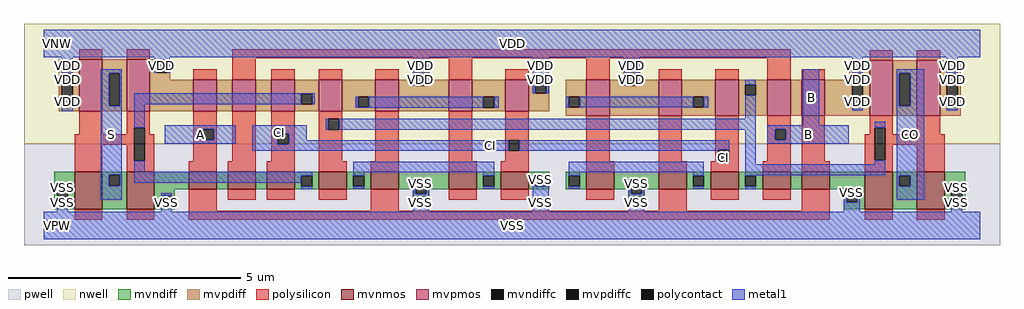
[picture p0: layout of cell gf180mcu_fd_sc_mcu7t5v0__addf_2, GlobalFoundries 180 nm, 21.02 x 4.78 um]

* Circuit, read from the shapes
.subckt gf180mcu_fd_sc_mcu7t5v0__addf_2 A B CI CO S VDD VNW VPW VSS
XM1 S n1 VSS VPW nfet_06v0 w=0.815u l=0.6u m=2
XM2 n2 A VSS VPW nfet_06v0 w=0.38u l=0.6u
XM3 n3 B n2 VPW nfet_06v0 w=0.38u l=0.6u
XM4 n1 CI n3 VPW nfet_06v0 w=0.38u l=0.6u
XM5 n4 n5 n1 VPW nfet_06v0 w=0.38u l=0.6u
XM6 VSS A n4 VPW nfet_06v0 w=0.38u l=0.6u
XM7 n4 B VSS VPW nfet_06v0 w=0.38u l=0.6u
XM8 VSS CI n4 VPW nfet_06v0 w=0.38u l=0.6u
XM9 VSS B n6 VPW nfet_06v0 w=0.38u l=0.6u
XM10 n6 A VSS VPW nfet_06v0 w=0.38u l=0.6u
XM11 n5 CI n6 VPW nfet_06v0 w=0.38u l=0.6u
XM12 n7 B n5 VPW nfet_06v0 w=0.38u l=0.6u
XM13 VSS A n7 VPW nfet_06v0 w=0.38u l=0.6u
XM14 CO n5 VSS VPW nfet_06v0 w=0.815u l=0.6u m=2
XM15 S n1 VDD VNW pfet_06v0 w=1.12u l=0.5u m=2
XM16 n8 A VDD VNW pfet_06v0 w=0.68u l=0.5u
XM17 n9 B n8 VNW pfet_06v0 w=0.68u l=0.5u
XM18 n1 CI n9 VNW pfet_06v0 w=0.68u l=0.5u
XM19 n10 n5 n1 VNW pfet_06v0 w=0.68u l=0.5u
XM20 VDD A n10 VNW pfet_06v0 w=0.68u l=0.5u
XM21 n10 B VDD VNW pfet_06v0 w=0.68u l=0.5u
XM22 VDD CI n10 VNW pfet_06v0 w=0.68u l=0.5u
XM23 VDD B n11 VNW pfet_06v0 w=0.78u l=0.5u
XM24 n11 A VDD VNW pfet_06v0 w=0.78u l=0.5u
XM25 n5 CI n11 VNW pfet_06v0 w=0.78u l=0.5u
XM26 n12 B n5 VNW pfet_06v0 w=0.78u l=0.5u
XM27 VDD A n12 VNW pfet_06v0 w=0.78u l=0.5u
XM28 CO n5 VDD VNW pfet_06v0 w=1.195u l=0.5u m=2
.ends

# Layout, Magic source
magic
tech gf180mcuD
magscale 1 10
<< nwell >>
rect -86 352 4118 870
<< pwell >>
rect -86 -86 4118 352
<< mvnmos >>
rect 132 69 252 232
rect 356 69 476 232
rect 624 156 744 232
rect 792 156 912 232
rect 960 156 1080 232
rect 1184 156 1304 232
rect 1408 156 1528 232
rect 1744 156 1864 232
rect 1968 156 2088 232
rect 2336 156 2456 232
rect 2648 156 2768 232
rect 2872 156 2992 232
rect 3096 156 3216 232
rect 3264 156 3384 232
rect 3536 69 3656 232
rect 3760 69 3880 232
<< mvpmos >>
rect 152 492 252 716
rect 356 492 456 716
rect 644 492 744 628
rect 812 492 912 628
rect 980 492 1080 628
rect 1184 492 1284 628
rect 1428 492 1528 628
rect 1744 492 1844 628
rect 1988 492 2088 628
rect 2336 472 2436 628
rect 2648 472 2748 628
rect 2892 472 2992 628
rect 3116 472 3216 628
rect 3264 472 3364 628
rect 3556 472 3656 711
rect 3760 472 3860 711
<< mvndiff >>
rect 44 142 132 232
rect 44 96 57 142
rect 103 96 132 142
rect 44 69 132 96
rect 252 218 356 232
rect 252 172 281 218
rect 327 172 356 218
rect 252 69 356 172
rect 476 156 624 232
rect 744 156 792 232
rect 912 156 960 232
rect 1080 215 1184 232
rect 1080 169 1109 215
rect 1155 169 1184 215
rect 1080 156 1184 169
rect 1304 215 1408 232
rect 1304 169 1333 215
rect 1379 169 1408 215
rect 1304 156 1408 169
rect 1528 183 1744 232
rect 1528 156 1601 183
rect 476 128 564 156
rect 476 82 505 128
rect 551 82 564 128
rect 476 69 564 82
rect 1588 137 1601 156
rect 1647 156 1744 183
rect 1864 215 1968 232
rect 1864 169 1893 215
rect 1939 169 1968 215
rect 1864 156 1968 169
rect 2088 215 2176 232
rect 2088 169 2117 215
rect 2163 169 2176 215
rect 2088 156 2176 169
rect 2248 215 2336 232
rect 2248 169 2261 215
rect 2307 169 2336 215
rect 2248 156 2336 169
rect 2456 183 2648 232
rect 2456 156 2529 183
rect 1647 137 1660 156
rect 1588 124 1660 137
rect 2516 137 2529 156
rect 2575 156 2648 183
rect 2768 215 2872 232
rect 2768 169 2797 215
rect 2843 169 2872 215
rect 2768 156 2872 169
rect 2992 215 3096 232
rect 2992 169 3021 215
rect 3067 169 3096 215
rect 2992 156 3096 169
rect 3216 156 3264 232
rect 3384 156 3536 232
rect 2575 137 2588 156
rect 2516 124 2588 137
rect 3444 146 3536 156
rect 3444 100 3457 146
rect 3503 100 3536 146
rect 3444 69 3536 100
rect 3656 215 3760 232
rect 3656 169 3685 215
rect 3731 169 3760 215
rect 3656 69 3760 169
rect 3880 142 3968 232
rect 3880 96 3909 142
rect 3955 96 3968 142
rect 3880 69 3968 96
<< mvpdiff >>
rect 64 655 152 716
rect 64 515 77 655
rect 123 515 152 655
rect 64 492 152 515
rect 252 655 356 716
rect 252 515 281 655
rect 327 515 356 655
rect 252 492 356 515
rect 456 703 544 716
rect 456 657 485 703
rect 531 657 544 703
rect 456 628 544 657
rect 1588 647 1660 660
rect 1588 628 1601 647
rect 456 492 644 628
rect 744 492 812 628
rect 912 492 980 628
rect 1080 568 1184 628
rect 1080 522 1109 568
rect 1155 522 1184 568
rect 1080 492 1184 522
rect 1284 555 1428 628
rect 1284 509 1353 555
rect 1399 509 1428 555
rect 1284 492 1428 509
rect 1528 601 1601 628
rect 1647 628 1660 647
rect 2496 647 2568 660
rect 2496 628 2509 647
rect 1647 601 1744 628
rect 1528 492 1744 601
rect 1844 554 1988 628
rect 1844 508 1893 554
rect 1939 508 1988 554
rect 1844 492 1988 508
rect 2088 615 2176 628
rect 2088 569 2117 615
rect 2163 569 2176 615
rect 2088 492 2176 569
rect 2248 555 2336 628
rect 2248 509 2261 555
rect 2307 509 2336 555
rect 2248 472 2336 509
rect 2436 601 2509 628
rect 2555 628 2568 647
rect 3468 655 3556 711
rect 3468 628 3481 655
rect 2555 601 2648 628
rect 2436 472 2648 601
rect 2748 555 2892 628
rect 2748 509 2797 555
rect 2843 509 2892 555
rect 2748 472 2892 509
rect 2992 606 3116 628
rect 2992 560 3021 606
rect 3067 560 3116 606
rect 2992 472 3116 560
rect 3216 472 3264 628
rect 3364 515 3481 628
rect 3527 515 3556 655
rect 3364 472 3556 515
rect 3656 655 3760 711
rect 3656 515 3685 655
rect 3731 515 3760 655
rect 3656 472 3760 515
rect 3860 655 3948 711
rect 3860 515 3889 655
rect 3935 515 3948 655
rect 3860 472 3948 515
<< mvndiffc >>
rect 57 96 103 142
rect 281 172 327 218
rect 1109 169 1155 215
rect 1333 169 1379 215
rect 505 82 551 128
rect 1601 137 1647 183
rect 1893 169 1939 215
rect 2117 169 2163 215
rect 2261 169 2307 215
rect 2529 137 2575 183
rect 2797 169 2843 215
rect 3021 169 3067 215
rect 3457 100 3503 146
rect 3685 169 3731 215
rect 3909 96 3955 142
<< mvpdiffc >>
rect 77 515 123 655
rect 281 515 327 655
rect 485 657 531 703
rect 1109 522 1155 568
rect 1353 509 1399 555
rect 1601 601 1647 647
rect 1893 508 1939 554
rect 2117 569 2163 615
rect 2261 509 2307 555
rect 2509 601 2555 647
rect 2797 509 2843 555
rect 3021 560 3067 606
rect 3481 515 3527 655
rect 3685 515 3731 655
rect 3889 515 3935 655
<< polysilicon >>
rect 152 716 252 760
rect 356 716 456 760
rect 812 720 3216 760
rect 644 628 744 672
rect 812 628 912 720
rect 980 628 1080 672
rect 1184 628 1284 672
rect 1428 628 1528 672
rect 1744 628 1844 720
rect 1988 628 2088 672
rect 2336 628 2436 720
rect 152 394 252 492
rect 356 420 456 492
rect 356 394 388 420
rect 132 348 388 394
rect 132 232 252 348
rect 356 280 388 348
rect 434 394 456 420
rect 644 415 744 492
rect 434 280 476 394
rect 356 232 476 280
rect 644 369 685 415
rect 731 369 744 415
rect 644 276 744 369
rect 812 276 912 492
rect 980 395 1080 492
rect 980 349 1008 395
rect 1054 349 1080 395
rect 980 276 1080 349
rect 624 232 744 276
rect 792 232 912 276
rect 960 232 1080 276
rect 1184 459 1284 492
rect 1184 413 1225 459
rect 1271 413 1284 459
rect 1184 276 1284 413
rect 1428 276 1528 492
rect 1184 232 1304 276
rect 1408 232 1528 276
rect 1744 276 1844 492
rect 1988 367 2088 492
rect 2648 628 2748 672
rect 2892 628 2992 672
rect 3116 628 3216 720
rect 3556 711 3656 755
rect 3760 711 3860 755
rect 3264 628 3364 672
rect 1988 321 2001 367
rect 2047 321 2088 367
rect 1988 276 2088 321
rect 1744 232 1864 276
rect 1968 232 2088 276
rect 2336 276 2436 472
rect 2648 276 2748 472
rect 2892 326 2992 472
rect 2892 280 2905 326
rect 2951 280 2992 326
rect 2892 276 2992 280
rect 3116 415 3216 472
rect 3116 369 3149 415
rect 3195 369 3216 415
rect 3116 276 3216 369
rect 2336 232 2456 276
rect 2648 232 2768 276
rect 2872 232 2992 276
rect 3096 232 3216 276
rect 3264 276 3364 472
rect 3556 421 3656 472
rect 3556 394 3578 421
rect 3536 281 3578 394
rect 3624 394 3656 421
rect 3760 394 3860 472
rect 3624 348 3880 394
rect 3624 281 3656 348
rect 3264 232 3384 276
rect 3536 232 3656 281
rect 3760 232 3880 348
rect 132 24 252 69
rect 356 24 476 69
rect 624 64 744 156
rect 792 112 912 156
rect 960 112 1080 156
rect 1184 112 1304 156
rect 1408 64 1528 156
rect 1744 112 1864 156
rect 1968 112 2088 156
rect 2336 112 2456 156
rect 2648 64 2768 156
rect 2872 112 2992 156
rect 3096 112 3216 156
rect 3264 64 3384 156
rect 624 24 3384 64
rect 3536 24 3656 69
rect 3760 24 3880 69
<< polycontact >>
rect 388 280 434 420
rect 685 369 731 415
rect 1008 349 1054 395
rect 1225 413 1271 459
rect 2001 321 2047 367
rect 2905 280 2951 326
rect 3149 369 3195 415
rect 3578 281 3624 421
<< metal1 >>
rect 0 724 4032 844
rect 77 655 123 724
rect 474 703 542 724
rect 77 492 123 515
rect 244 655 336 674
rect 474 657 485 703
rect 531 657 542 703
rect 244 515 281 655
rect 327 515 336 655
rect 1590 647 1658 724
rect 1590 601 1601 647
rect 1647 601 1658 647
rect 2106 615 2174 724
rect 2106 569 2117 615
rect 2163 569 2174 615
rect 2498 647 2566 724
rect 2498 601 2509 647
rect 2555 601 2566 647
rect 3021 606 3067 628
rect 244 218 336 515
rect 57 142 103 181
rect 244 172 281 218
rect 327 172 336 218
rect 388 568 1166 569
rect 388 522 1109 568
rect 1155 522 1166 568
rect 388 420 434 522
rect 1342 509 1353 555
rect 1399 554 1958 555
rect 1399 509 1893 554
rect 1342 508 1893 509
rect 1939 508 1958 554
rect 2248 509 2261 555
rect 2307 509 2797 555
rect 2843 509 2862 555
rect 3021 459 3067 560
rect 521 415 826 432
rect 521 369 685 415
rect 731 369 826 415
rect 521 352 826 369
rect 898 395 1132 432
rect 1214 413 1225 459
rect 1271 413 3067 459
rect 3268 432 3340 674
rect 3481 655 3527 724
rect 3481 496 3527 515
rect 3674 655 3792 674
rect 3674 515 3685 655
rect 3731 515 3792 655
rect 898 349 1008 395
rect 1054 367 1132 395
rect 1054 349 2001 367
rect 898 321 2001 349
rect 2047 326 2951 367
rect 2047 321 2905 326
rect 388 231 434 280
rect 388 215 1155 231
rect 388 185 1109 215
rect 244 110 336 172
rect 1109 156 1155 169
rect 1333 229 1939 275
rect 1333 215 1379 229
rect 1893 215 1939 229
rect 2261 229 2843 275
rect 2905 269 2951 280
rect 2261 215 2307 229
rect 1333 158 1379 169
rect 505 128 551 139
rect 57 60 103 96
rect 505 60 551 82
rect 1590 137 1601 183
rect 1647 137 1658 183
rect 1893 158 1939 169
rect 2106 169 2117 215
rect 2163 169 2174 215
rect 1590 60 1658 137
rect 2106 60 2174 169
rect 2797 215 2843 229
rect 2261 158 2307 169
rect 2518 137 2529 183
rect 2575 137 2586 183
rect 2797 158 2843 169
rect 3021 263 3067 413
rect 3116 415 3467 432
rect 3116 369 3149 415
rect 3195 369 3467 415
rect 3116 352 3467 369
rect 3578 421 3624 446
rect 3578 263 3624 281
rect 3021 217 3624 263
rect 3021 215 3067 217
rect 3021 156 3067 169
rect 3674 215 3792 515
rect 3889 655 3935 724
rect 3889 496 3935 515
rect 3674 169 3685 215
rect 3731 169 3792 215
rect 2518 60 2586 137
rect 3446 100 3457 146
rect 3503 100 3514 146
rect 3674 110 3792 169
rect 3909 142 3955 181
rect 3446 60 3514 100
rect 3909 60 3955 96
rect 0 -60 4032 60
<< labels >>
flabel metal1 s 0 724 4032 844 0 FreeSans 600 0 0 0 VDD
port 6 nsew power bidirectional abutment
flabel metal1 s 3268 432 3340 674 0 FreeSans 600 0 0 0 B
port 2 nsew default input
flabel metal1 s 898 367 1132 432 0 FreeSans 600 0 0 0 CI
port 3 nsew default input
flabel metal1 s 3674 110 3792 674 0 FreeSans 600 0 0 0 CO
port 4 nsew default output
flabel metal1 s 244 110 336 674 0 FreeSans 600 0 0 0 S
port 5 nsew default output
flabel metal1 s 2106 183 2174 215 0 FreeSans 600 0 0 0 VSS
port 9 nsew ground bidirectional abutment
flabel metal1 s 521 352 826 432 0 FreeSans 600 0 0 0 A
port 1 nsew default input
flabel nwell s 10 734 110 834 0 FreeSans 400 0 0 0 VNW
port 7 nsew power bidirectional
flabel pwell s 10 -50 110 50 0 FreeSans 400 0 0 0 VPW
port 8 nsew ground bidirectional
rlabel metal1 s 3116 352 3467 432 1 B
port 2 nsew default input
rlabel metal1 s 898 321 2951 367 1 CI
port 3 nsew default input
rlabel metal1 s 2905 269 2951 321 1 CI
port 3 nsew default input
rlabel metal1 s 3889 657 3935 724 1 VDD
port 6 nsew power bidirectional abutment
rlabel metal1 s 3481 657 3527 724 1 VDD
port 6 nsew power bidirectional abutment
rlabel metal1 s 2498 657 2566 724 1 VDD
port 6 nsew power bidirectional abutment
rlabel metal1 s 2106 657 2174 724 1 VDD
port 6 nsew power bidirectional abutment
rlabel metal1 s 1590 657 1658 724 1 VDD
port 6 nsew power bidirectional abutment
rlabel metal1 s 474 657 542 724 1 VDD
port 6 nsew power bidirectional abutment
rlabel metal1 s 77 657 123 724 1 VDD
port 6 nsew power bidirectional abutment
rlabel metal1 s 3889 601 3935 657 1 VDD
port 6 nsew power bidirectional abutment
rlabel metal1 s 3481 601 3527 657 1 VDD
port 6 nsew power bidirectional abutment
rlabel metal1 s 2498 601 2566 657 1 VDD
port 6 nsew power bidirectional abutment
rlabel metal1 s 2106 601 2174 657 1 VDD
port 6 nsew power bidirectional abutment
rlabel metal1 s 1590 601 1658 657 1 VDD
port 6 nsew power bidirectional abutment
rlabel metal1 s 77 601 123 657 1 VDD
port 6 nsew power bidirectional abutment
rlabel metal1 s 3889 569 3935 601 1 VDD
port 6 nsew power bidirectional abutment
rlabel metal1 s 3481 569 3527 601 1 VDD
port 6 nsew power bidirectional abutment
rlabel metal1 s 2106 569 2174 601 1 VDD
port 6 nsew power bidirectional abutment
rlabel metal1 s 77 569 123 601 1 VDD
port 6 nsew power bidirectional abutment
rlabel metal1 s 3889 496 3935 569 1 VDD
port 6 nsew power bidirectional abutment
rlabel metal1 s 3481 496 3527 569 1 VDD
port 6 nsew power bidirectional abutment
rlabel metal1 s 77 496 123 569 1 VDD
port 6 nsew power bidirectional abutment
rlabel metal1 s 77 492 123 496 1 VDD
port 6 nsew power bidirectional abutment
rlabel metal1 s 2518 181 2586 183 1 VSS
port 9 nsew ground bidirectional abutment
rlabel metal1 s 2106 181 2174 183 1 VSS
port 9 nsew ground bidirectional abutment
rlabel metal1 s 1590 181 1658 183 1 VSS
port 9 nsew ground bidirectional abutment
rlabel metal1 s 3909 146 3955 181 1 VSS
port 9 nsew ground bidirectional abutment
rlabel metal1 s 2518 146 2586 181 1 VSS
port 9 nsew ground bidirectional abutment
rlabel metal1 s 2106 146 2174 181 1 VSS
port 9 nsew ground bidirectional abutment
rlabel metal1 s 1590 146 1658 181 1 VSS
port 9 nsew ground bidirectional abutment
rlabel metal1 s 57 146 103 181 1 VSS
port 9 nsew ground bidirectional abutment
rlabel metal1 s 3909 139 3955 146 1 VSS
port 9 nsew ground bidirectional abutment
rlabel metal1 s 3446 139 3514 146 1 VSS
port 9 nsew ground bidirectional abutment
rlabel metal1 s 2518 139 2586 146 1 VSS
port 9 nsew ground bidirectional abutment
rlabel metal1 s 2106 139 2174 146 1 VSS
port 9 nsew ground bidirectional abutment
rlabel metal1 s 1590 139 1658 146 1 VSS
port 9 nsew ground bidirectional abutment
rlabel metal1 s 57 139 103 146 1 VSS
port 9 nsew ground bidirectional abutment
rlabel metal1 s 3909 60 3955 139 1 VSS
port 9 nsew ground bidirectional abutment
rlabel metal1 s 3446 60 3514 139 1 VSS
port 9 nsew ground bidirectional abutment
rlabel metal1 s 2518 60 2586 139 1 VSS
port 9 nsew ground bidirectional abutment
rlabel metal1 s 2106 60 2174 139 1 VSS
port 9 nsew ground bidirectional abutment
rlabel metal1 s 1590 60 1658 139 1 VSS
port 9 nsew ground bidirectional abutment
rlabel metal1 s 505 60 551 139 1 VSS
port 9 nsew ground bidirectional abutment
rlabel metal1 s 57 60 103 139 1 VSS
port 9 nsew ground bidirectional abutment
rlabel metal1 s 0 -60 4032 60 1 VSS
port 9 nsew ground bidirectional abutment
<< properties >>
string FIXED_BBOX 0 0 4032 784
string GDS_END 1180270
string GDS_FILE $PDKPATH/libs.ref/gf180mcu_fd_sc_mcu7t5v0/gds/gf180mcu_fd_sc_mcu7t5v0.gds
string GDS_START 1172976
string LEFclass core
string LEFsite GF018hv5v_mcu_sc7
string LEFsymmetry X Y
<< end >>
